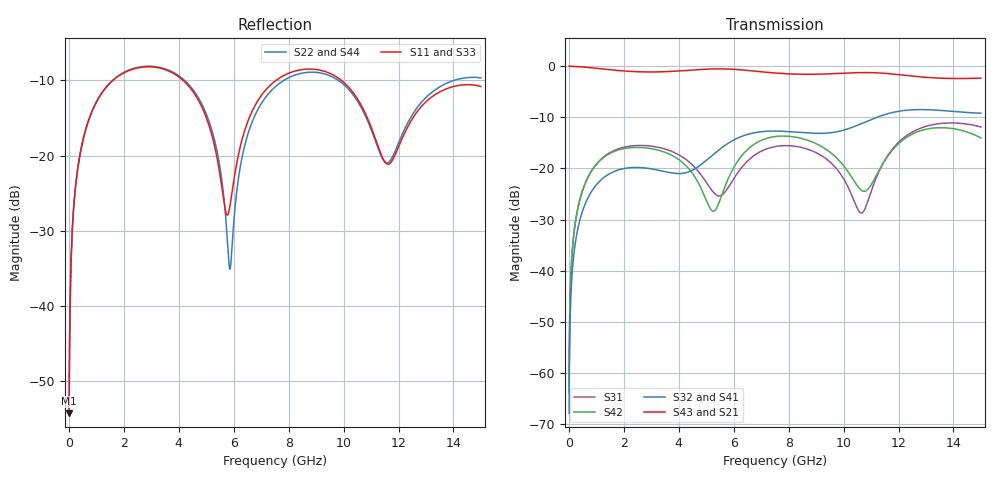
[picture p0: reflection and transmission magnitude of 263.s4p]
! Created with skrf 1.8.0 (http://scikit-rf.org).
# GHz S RI R 50.0
!freq ReS11 ImS11 ReS12 ImS12 ReS13 ImS13
! ReS14 ImS14
! ReS21 ImS21 ReS22 ImS22 ReS23 ImS23
! ReS24 ImS24
! ReS31 ImS31 ReS32 ImS32 ReS33 ImS33
! ReS34 ImS34
! ReS41 ImS41 ReS42 ImS42 ReS43 ImS43
! ReS44 ImS44
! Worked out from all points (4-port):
!   2499 points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, 5 MHz to 15 GHz, reference 50 ohm
!   strongest paths, dB at 5 MHz, 3.476 GHz, 7.19 GHz, 11.1 GHz, 15 GHz:
!     S43: 0.0, -1.1, -1.2, -1.3, -2.3
!     S21: 0.0, -1.1, -1.2, -1.3, -2.3
!     S32: -67.9, -20.6, -12.7, -10.2, -9.2
!     S41: -67.9, -20.7, -12.8, -10.2, -9.3
!     S42: -63.8, -16.8, -14.1, -22.3, -14.1
!     S31: -63.8, -16.2, -16.2, -23.1, -11.9
!   lowest |S11| = -54.3 dB at 5 MHz (marker M1), VSWR 1.00, Z = 50.2 + j0.117 ohm
!   |S11| at or under -10 dB: start of sweep to 1.604 GHz; 4.151 GHz to 7.546 GHz (3.395 GHz wide, 58 % of centre); 9.917 GHz to end of sweep
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0.005  0.00154 0.00117  0.9984 -0.00301  7.83e-05 0.00064  -7.58e-05 -0.000397
       0.9984 -0.00301  0.00154 0.00117  -7.58e-05 -0.000397  7.81e-05 0.00064
       7.83e-05 0.00064  -7.58e-05 -0.000397  0.00154 0.00117  0.9984 -0.00301
       -7.58e-05 -0.000397  7.81e-05 0.00064  0.9984 -0.00301  0.00154 0.00117
0.3126303  0.0217 0.0773  0.9703 -0.1874  0.0106 0.0381  -0.0085 -0.0235
           0.9703 -0.1874  0.0218 0.0773  -0.00851 -0.0235  0.0099 0.0383
           0.0106 0.0381  -0.00851 -0.0235  0.0217 0.0773  0.9703 -0.1874
           -0.0085 -0.0235  0.0099 0.0383  0.9703 -0.1874  0.0218 0.0773
1.519383  0.2432 0.1858  0.6012 -0.6968  0.1283 0.0655  -0.0886 -0.0149
          0.6012 -0.6968  0.2461 0.1841  -0.0888 -0.0147  0.1184 0.0772
          0.1283 0.0655  -0.0888 -0.0147  0.2431 0.1859  0.6011 -0.6968
          -0.0886 -0.0149  0.1184 0.0772  0.6011 -0.6968  0.2463 0.1841
5.871196  0.0423 0.0212  -0.9334 -0.0334  -0.0397 0.0575  -0.00357 0.181
          -0.9334 -0.0334  0.0177 0.00124  0.000491 0.1811  0.0565 0.0667
          -0.0397 0.0575  0.000491 0.1811  0.0438 0.0188  -0.9334 -0.0338
          -0.00357 0.181  0.0565 0.0667  -0.9334 -0.0338  0.0168 -0.000731
9.103793  0.3658 -0.0583  0.0338 0.8327  0.1201 -0.0675  0.2088 -0.0621
          0.0338 0.8327  0.3535 -0.0333  0.2083 -0.0704  0.1259 -0.1126
          0.1201 -0.0675  0.2083 -0.0704  0.3637 -0.0583  0.0354 0.833
          0.2088 -0.0621  0.1259 -0.1126  0.0354 0.833  0.3537 -0.0352
11.72363  0.09 0.00324  0.8344 0.0945  0.0157 0.1469  0.0348 -0.3474
          0.8344 0.0945  0.0928 0.014  0.0206 -0.3484  -0.0123 0.1441
          0.0157 0.1469  0.0206 -0.3484  0.091 0.00105  0.8347 0.091
          0.0348 -0.3474  -0.0123 0.1441  0.8347 0.091  0.0914 0.0164
15  0.2814 -0.0597  0.0506 -0.7635  0.1952 -0.1625  -0.3372 0.0515
    0.0506 -0.7635  0.3201 -0.0719  -0.3388 0.0732  0.1893 -0.0591
    0.1952 -0.1625  -0.3388 0.0732  0.2787 -0.0545  0.0443 -0.7626
    -0.3372 0.0515  0.1893 -0.0591  0.0443 -0.7626  0.3274 -0.0792
